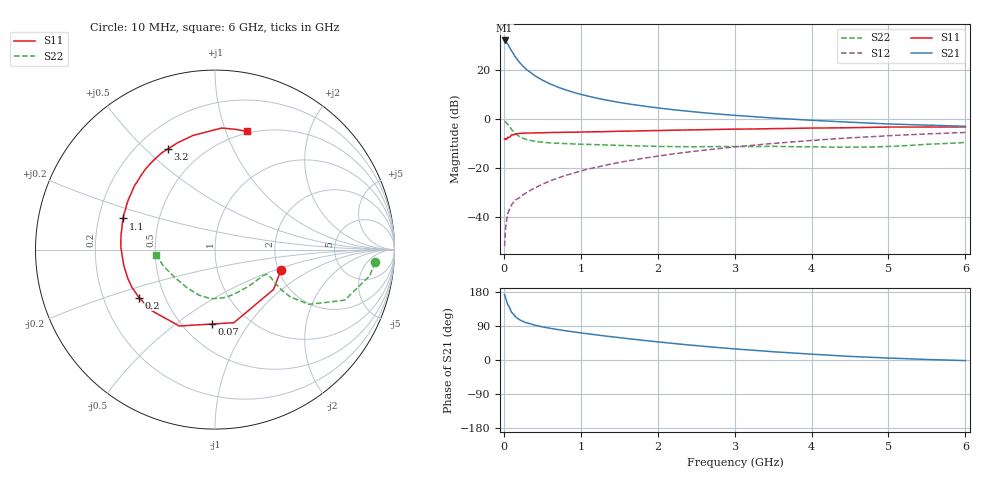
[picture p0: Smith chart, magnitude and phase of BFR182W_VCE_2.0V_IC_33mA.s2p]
! Infineon Technologies  Discrete & RF Semiconductors
! BFR182W
! VCE =  2.0 V,  IC =  33 mA
! Common Emitter S-Parameters:  Jan 2017
# GHz  S  MA  R  50
!  f  S11  S21  S12  S22
! GHz  MAG  ANG  MAG  ANG  MAG  ANG  MAG  ANG
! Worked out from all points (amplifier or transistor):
!   77 points, 10 MHz to 6 GHz, reference 50 ohm
!   highest |S21| = 32.0 dB at 10 MHz (marker M1)
!   |S21| within 3 dB of that: start of sweep to 77.58 MHz
!   unconditionally stable (mu >= 1): 330.5 MHz to 2.72 GHz
!   at 130 MHz: K = 0.63, MSG = 30.1 dB, |S12| = -33.9 dB
!   at 2.2 GHz: K = 1.05, MAG = 7.6 dB, |S12| = -14.4 dB
!   at 6 GHz: K = 0.96, MSG = 1.3 dB, |S12| = -5.6 dB
!   S11 on the Smith chart (normalised r, x): 10 MHz: 2.05, -0.56; 70 MHz: 0.69, -0.69; 200 MHz: 0.36, -0.25; 1.1 GHz: 0.31, +0.15; 3.2 GHz: 0.32, +0.59; 6 GHz: 0.48, +1.19
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0.01  0.3846 -17.6  39.88 172.4  0.0025 76.0  0.8942 -4.5
0.02  0.3946 -34.3  39.43 165.3  0.0051 78.4  0.8745 -9.6
0.05  0.4206 -75.5  33.81 146.3  0.0114 65.3  0.7753 -21.3
0.07  0.4149 -92.2  29.68 139.7  0.0138 63.1  0.7051 -24.4
0.1  0.4697 -115.0  24.53 125.8  0.0175 60.9  0.6047 -30.3
0.15  0.4893 -135.7  18.33 114.2  0.022 58.2  0.496 -32.1
0.2  0.5009 -147.8  14.41 106.8  0.0242 59.1  0.436 -31.3
0.25  0.5085 -156.0  11.85 101.5  0.0281 60.5  0.3991 -29.9
0.3  0.5117 -161.8  9.995 97.8  0.0314 63.6  0.3742 -28.5
0.4  0.5159 -170.4  7.641 91.9  0.0385 65.6  0.3475 -26.6
0.5  0.5186 -176.7  6.16 87.5  0.0458 67.6  0.3323 -25.9
0.6  0.5245 178.5  5.177 83.7  0.0539 69.5  0.323 -25.7
0.7  0.5267 174.6  4.456 80.4  0.0615 71.4  0.3164 -25.9
0.9  0.532 167.5  3.489 74.3  0.0771 71.8  0.3069 -27.8
1.1  0.5411 161.3  2.891 69.0  0.0944 72.5  0.3003 -30.6
1.5  0.5562 150.8  2.162 59.1  0.1281 71.7  0.2864 -38.1
2.1  0.5794 136.7  1.602 45.9  0.182 68.4  0.2717 -53.7
3.1  0.617 116.9  1.148 27.8  0.2752 59.8  0.2715 -83.3
3.2  0.6193 115.0  1.119 26.4  0.2848 58.8  0.2714 -86.0
4.1  0.6489 99.5  0.916 14.2  0.3706 49.4  0.266 -112.5
5.1  0.6779 85.5  0.776 4.4  0.4586 37.9  0.277 -149.4
6  0.6819 74.8  0.703 -1.6  0.5268 27.4  0.3288 -174.8
